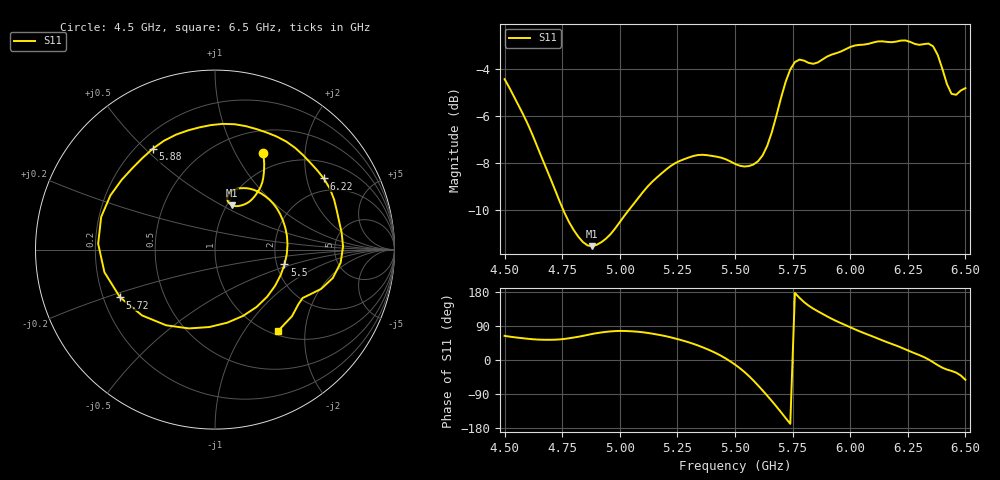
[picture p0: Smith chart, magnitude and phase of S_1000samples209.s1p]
! TOUCHSTONE file generated by CST MICROWAVE STUDIO
! Date and time: Thu Oct 27 09:31:18 2022
! Project name: L.cst
! Parameters = {Di=1.27; Epsilon_r=1.56; InnerDiameter=1.27; Length=2; Lf=10; Lg=60; OuterConductorThickness=0.2921; OuterDiameter=3.6; Wf=3; Wp=41.2; de=1.5; df=6.8; g=0.8; gx=0.773639; gy=2.92122; h=2.34; hf=1.524; px=12.2695; py=8.91092; w=9.7; wx=11.4959; wy=5.98969}
! Header version: 2018
! Port assignment regex: !\s*Touchstone port\s*([0-9]+)\s*=\s*(CST MWS port|CST DS port)\s*([0-9]+|Zmin|Zmax)\s*\(\"(.*)\"\)(\s*mode\s*([0-9]+))?.*
! Touchstone port assignment:
! Touchstone port 1 = CST MWS port 1 ("")
# GHz S DB R 50
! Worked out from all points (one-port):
!   101 points, 4.5 GHz to 6.5 GHz, reference 50 ohm
!   lowest |S11| = -11.5 dB at 4.88 GHz (marker M1), VSWR 1.72, Z = 53 + j28.1 ohm
!   |S11| at or under -10 dB: 4.754 GHz to 5.04 GHz (285.8 MHz wide, 5.84 % of centre)
!   S11 on the Smith chart (normalised r, x): 4.5 GHz: 0.77, +1.30; 5.5 GHz: 2.21, -0.43; 5.72 GHz: 0.27, -0.22; 5.88 GHz: 0.26, +0.53; 6.22 GHz: 1.52, +2.54; 6.5 GHz: 1.07, -1.45
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4.5  -4.44 63.7
4.62  -6.79 54.9
4.76  -10.13 55.7
4.88  -11.55 68.7
5  -10.52 76.7
5.12  -9.02 71.5
5.26  -7.92 53.6
5.38  -7.68 28.4
5.5  -8.05 -12.1
5.58  -8.07 -54.2
5.64  -7.28 -94.2
5.68  -5.98 -122.9
5.72  -4.55 -153.3
5.74  -4.03 -168.4
5.76  -3.72 177.1
5.8  -3.66 152.6
5.88  -3.60 121.7
5.94  -3.34 102.7
6  -3.08 86.5
6.1  -2.88 61.6
6.22  -2.80 33.2
6.26  -2.86 22.7
6.32  -2.95 7.7
6.36  -3.05 -6.0
6.4  -4.01 -20.3
6.44  -5.07 -28.9
6.48  -4.93 -40.8
6.5  -4.83 -52.3
